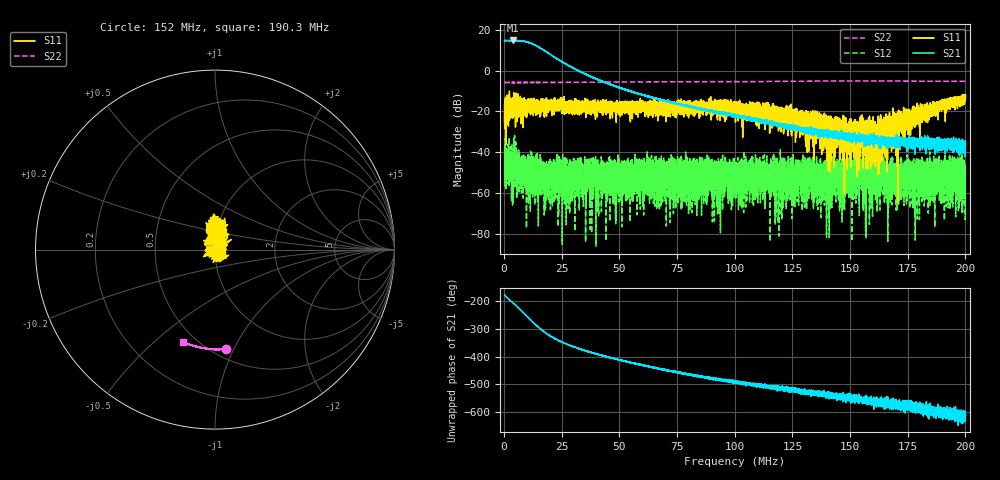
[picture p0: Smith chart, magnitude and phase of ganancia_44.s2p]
# Hz S DB R 50
! CMT, M5065, 19127446, 24.2.4/2
! Date: 11/8/2024 4:10:51 PM
! Data: Format (Calibration Info)
! Freq	S11:dB/Ang(F2)	S21:dB/Ang(F2)	S12:dB/Ang(F2)	S22:dB/Ang(F2)
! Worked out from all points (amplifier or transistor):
!   9000 points, 300 kHz to 200 MHz, reference 50 ohm
!   highest |S21| = 14.7 dB at 3.962 MHz (marker M1)
!   |S21| within 3 dB of that: start of sweep to 14.61 MHz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
!   unconditionally stable (mu >= 1): start of sweep to end of sweep
!   at 33.59 MHz: K = 84.97, MAG = 0.6 dB, |S12| = -46.7 dB
!   at 100.2 MHz: K = 5230.83, MAG = -20.4 dB, |S12| = -61.5 dB
!   at 200 MHz: K = 5675.93, MAG = -34.9 dB, |S12| = -48.0 dB
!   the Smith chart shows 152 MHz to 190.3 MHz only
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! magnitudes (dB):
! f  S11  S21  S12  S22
! 300 kHz  -25.0  14.7  -52.2  -5.9
! 1.521 MHz  -18.1  14.7  -42.5  -5.8
! 3.962 MHz  -18.6  14.7  -40.4  -5.9
! 18.34 MHz  -16.0  9.2  -47.4  -5.8
! 33.59 MHz  -17.7  -0.8  -46.7  -5.7
! 66.87 MHz  -19.4  -14.2  -53.6  -5.5
! 100.2 MHz  -18.5  -22.0  -61.5  -5.4
! 133.4 MHz  -25.4  -28.7  -49.2  -5.1
! 140.5 MHz  -24.1  -31.3  -56.7  -5.1
! 144.3 MHz  -27.1  -32.2  -54.8  -5.1
! 146.3 MHz  -29.1  -30.6  -52.1  -5.1
! 148.4 MHz  -27.1  -31.4  -50.9  -5.1
! 150.2 MHz  -30.7  -31.4  -52.4  -5.1
! 153 MHz  -32.0  -32.8  -44.9  -5.1
! 154.5 MHz  -25.7  -33.0  -55.4  -5.1
! 158.7 MHz  -36.9  -34.8  -49.6  -5.1
! 166.7 MHz  -26.3  -35.8  -47.0  -5.1
! 174.5 MHz  -23.7  -34.7  -50.5  -5.2
! 177.4 MHz  -23.8  -35.6  -58.9  -5.2
! 179.3 MHz  -18.1  -35.4  -60.2  -5.2
! 185.9 MHz  -15.6  -35.0  -46.1  -5.2
! 200 MHz  -11.8  -36.7  -48.0  -5.3
